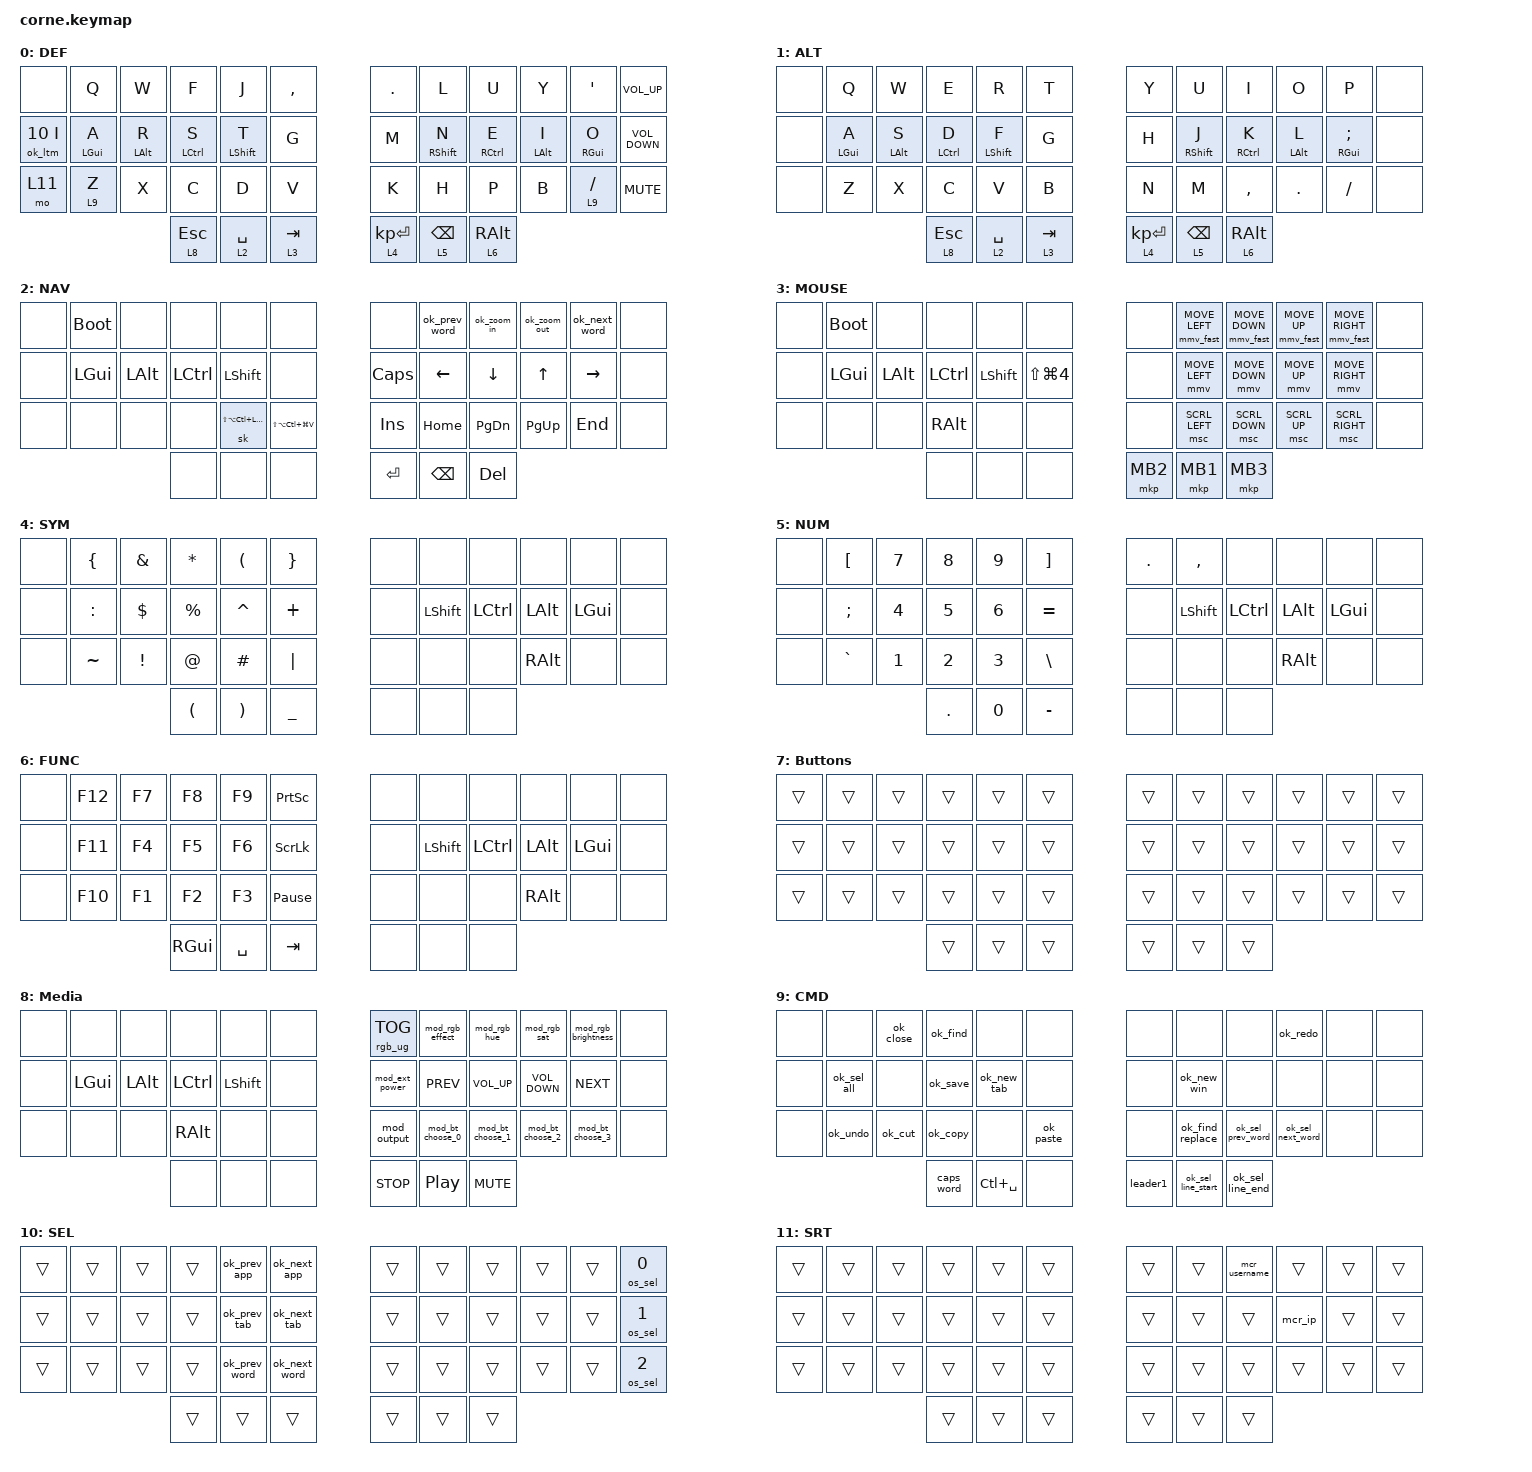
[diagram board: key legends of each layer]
/*
 * Copyright (c) 2020 The ZMK Contributors
 *
 * SPDX-License-Identifier: MIT
 */

#include <behaviors.dtsi>
#include <dt-bindings/zmk/bt.h>
#include <dt-bindings/zmk/ext_power.h>
#include <dt-bindings/zmk/keys.h>
#include <dt-bindings/zmk/outputs.h>
#include <dt-bindings/zmk/pointing.h>
#include <dt-bindings/zmk/rgb.h>

#define ZMK_POINTING_DEFAULT_SCRL_VAL 25
#define LOWER   1
#define RAISE   2

/ {
    behaviors {
        ///// Start OS KKey  ///////////////////
        /* ── OS selector ────────────────────────────────────────────── */

        os_sel: os_selector {
            compatible = "zmk,behavior-os-selector";
            #binding-cells = <1>;
        };

        /* ── Commands ─────────────────────────────────────────────── */

        ok_cut: os_key_cut {
            compatible = "zmk,behavior-os-key";
            #binding-cells = <0>;

            /*             Win           Mac           Lin  */

            bindings = <&kp LC(X)>, <&kp LG(X)>, <&kp LC(X)>;
        };

        ok_copy: os_key_copy {
            compatible = "zmk,behavior-os-key";
            #binding-cells = <0>;

            /*             Win           Mac           Lin  */

            bindings = <&kp LC(C)>, <&kp LG(C)>, <&kp LC(C)>;
        };

        ok_paste: os_key_paste {
            compatible = "zmk,behavior-os-key";
            #binding-cells = <0>;

            /*             Win           Mac           Lin  */

            bindings = <&kp LC(V)>, <&kp LG(V)>, <&kp LC(V)>;
        };

        ok_undo: os_key_undo {
            compatible = "zmk,behavior-os-key";
            #binding-cells = <0>;

            /*             Win           Mac           Lin  */

            bindings = <&kp LC(Z)>, <&kp LG(Z)>, <&kp LC(Z)>;
        };

        ok_redo: os_key_redo {
            compatible = "zmk,behavior-os-key";
            #binding-cells = <0>;

            /*             Win         Mac                Lin  */

            bindings = <&kp LC(Y)>, <&kp LS(LG(Z))>, <&kp LS(LC(Z))>;
        };

        ok_sel_all: os_key_select_all {
            compatible = "zmk,behavior-os-key";
            #binding-cells = <0>;

            /*             Win           Mac           Lin  */

            bindings = <&kp LC(A)>, <&kp LG(A)>, <&kp LC(A)>;
        };

        ok_find: os_key_find {
            compatible = "zmk,behavior-os-key";
            #binding-cells = <0>;

            /*             Win           Mac           Lin  */

            bindings = <&kp LC(F)>, <&kp LG(F)>, <&kp LC(F)>;
        };

        ok_find_replace: os_key_find_replace {
            compatible = "zmk,behavior-os-key";
            #binding-cells = <0>;

            /*             Win           Mac           Lin  */

            bindings = <&kp LC(H)>, <&kp LG(H)>, <&kp LC(H)>;
        };

        ok_bold: os_key_bold {
            compatible = "zmk,behavior-os-key";
            #binding-cells = <0>;

            /*             Win           Mac           Lin  */

            bindings = <&kp LC(B)>, <&kp LG(B)>, <&kp LC(B)>;
        };

        ok_italic: os_key_italic {
            compatible = "zmk,behavior-os-key";
            #binding-cells = <0>;

            /*             Win           Mac           Lin  */

            bindings = <&kp LC(I)>, <&kp LG(I)>, <&kp LC(I)>;
        };

        ok_underline: os_key_underline {
            compatible = "zmk,behavior-os-key";
            #binding-cells = <0>;

            /*             Win           Mac           Lin  */

            bindings = <&kp LC(U)>, <&kp LG(U)>, <&kp LC(U)>;
        };

        ok_new_win: os_key_new_window {
            compatible = "zmk,behavior-os-key";
            #binding-cells = <0>;

            /*             Win           Mac           Lin  */

            bindings = <&kp LC(N)>, <&kp LG(N)>, <&kp LC(N)>;
        };

        ok_new_tab: os_key_new_tab {
            compatible = "zmk,behavior-os-key";
            #binding-cells = <0>;

            /*             Win           Mac           Lin  */

            bindings = <&kp LC(T)>, <&kp LG(T)>, <&kp LC(T)>;
        };

        ok_close: os_key_close {
            compatible = "zmk,behavior-os-key";
            #binding-cells = <0>;

            /*             Win           Mac           Lin  */

            bindings = <&kp LC(W)>, <&kp LG(W)>, <&kp LC(W)>;
        };

        ok_quit: os_key_quit {
            compatible = "zmk,behavior-os-key";
            #binding-cells = <0>;

            /*             Win            Mac           Lin  */

            bindings = <&kp LA(F4)>, <&kp LG(Q)>, <&kp LA(F4)>;
        };

        ok_reopen_tab: os_key_reopen_tab {
            compatible = "zmk,behavior-os-key";
            #binding-cells = <0>;

            /*                  Win                Mac               Lin  */

            bindings = <&kp LS(LC(T))>, <&kp LS(LG(T))>, <&kp LS(LC(T))>;
        };

        ok_open: os_key_open {
            compatible = "zmk,behavior-os-key";
            #binding-cells = <0>;

            /*             Win           Mac           Lin  */

            bindings = <&kp LC(O)>, <&kp LG(O)>, <&kp LC(O)>;
        };

        ok_save: os_key_save {
            compatible = "zmk,behavior-os-key";
            #binding-cells = <0>;

            /*             Win           Mac           Lin  */

            bindings = <&kp LC(S)>, <&kp LG(S)>, <&kp LC(S)>;
        };

        ok_save_as: os_key_save_as {
            compatible = "zmk,behavior-os-key";
            #binding-cells = <0>;

            /*                  Win                Mac               Lin  */

            bindings = <&kp LS(LC(S))>, <&kp LS(LG(S))>, <&kp LS(LC(S))>;
        };

        ok_print: os_key_print {
            compatible = "zmk,behavior-os-key";
            #binding-cells = <0>;

            /*             Win           Mac           Lin  */

            bindings = <&kp LC(P)>, <&kp LG(P)>, <&kp LC(P)>;
        };

        ok_zoom_in: os_key_zoom_in {
            compatible = "zmk,behavior-os-key";
            #binding-cells = <0>;

            /*                Win              Mac              Lin  */

            bindings = <&kp LC(EQUAL)>, <&kp LG(EQUAL)>, <&kp LC(EQUAL)>;
        };

        ok_zoom_out: os_key_zoom_out {
            compatible = "zmk,behavior-os-key";
            #binding-cells = <0>;

            /*                Win              Mac              Lin  */

            bindings = <&kp LC(MINUS)>, <&kp LG(MINUS)>, <&kp LC(MINUS)>;
        };

        ok_zoom_reset: os_key_zoom_reset {
            compatible = "zmk,behavior-os-key";
            #binding-cells = <0>;

            /*             Win            Mac            Lin  */

            bindings = <&kp LC(N0)>, <&kp LG(N0)>, <&kp LC(N0)>;
        };

        /* ── Navigation ─────────────────────────────────────────────── */

        ok_prev_word: os_key_prev_word {
            compatible = "zmk,behavior-os-key";
            #binding-cells = <0>;

            /*                  Win            Mac            Lin  */

            bindings = <&kp LC(LEFT)>, <&kp LA(LEFT)>, <&kp LC(LEFT)>;
        };

        ok_next_word: os_key_next_word {
            compatible = "zmk,behavior-os-key";
            #binding-cells = <0>;

            /*                  Win             Mac             Lin  */

            bindings = <&kp LC(RIGHT)>, <&kp LA(RIGHT)>, <&kp LC(RIGHT)>;
        };

        ok_line_start: os_key_line_start {
            compatible = "zmk,behavior-os-key";
            #binding-cells = <0>;

            /*              Win          Mac             Lin  */

            bindings = <&kp HOME>, <&kp LG(LEFT)>, <&kp HOME>;
        };

        ok_line_end: os_key_line_end {
            compatible = "zmk,behavior-os-key";
            #binding-cells = <0>;

            /*             Win           Mac              Lin  */

            bindings = <&kp END>, <&kp LG(RIGHT)>, <&kp END>;
        };

        ok_doc_start: os_key_doc_start {
            compatible = "zmk,behavior-os-key";
            #binding-cells = <0>;

            /*                Win           Mac          Lin  */

            bindings = <&kp LC(HOME)>, <&kp LG(UP)>, <&kp LC(HOME)>;
        };

        ok_doc_end: os_key_doc_end {
            compatible = "zmk,behavior-os-key";
            #binding-cells = <0>;

            /*               Win             Mac            Lin  */

            bindings = <&kp LC(END)>, <&kp LG(DOWN)>, <&kp LC(END)>;
        };

        /* ── Selection (Shift + Navigation) ─────────────────────────── */

        ok_sel_prev_word: os_key_sel_prev_word {
            compatible = "zmk,behavior-os-key";
            #binding-cells = <0>;

            /*                       Win                   Mac                   Lin  */

            bindings =
                <&kp LS(LC(LEFT))>,
                <&kp LS(LA(LEFT))>,
                <&kp LS(LC(LEFT))>;
        };

        ok_sel_next_word: os_key_sel_next_word {
            compatible = "zmk,behavior-os-key";
            #binding-cells = <0>;

            /*                        Win                    Mac                    Lin  */

            bindings =
                <&kp LS(LC(RIGHT))>,
                <&kp LS(LA(RIGHT))>,
                <&kp LS(LC(RIGHT))>;
        };

        ok_sel_line_start: os_key_sel_line_start {
            compatible = "zmk,behavior-os-key";
            #binding-cells = <0>;

            /*                   Win              Mac                Lin  */

            bindings = <&kp LS(HOME)>, <&kp LS(LG(LEFT))>, <&kp LS(HOME)>;
        };

        ok_sel_line_end: os_key_sel_line_end {
            compatible = "zmk,behavior-os-key";
            #binding-cells = <0>;

            /*                  Win             Mac                 Lin  */

            bindings = <&kp LS(END)>, <&kp LS(LG(RIGHT))>, <&kp LS(END)>;
        };

        ok_sel_doc_start: os_key_sel_doc_start {
            compatible = "zmk,behavior-os-key";
            #binding-cells = <0>;

            /*                     Win                Mac               Lin  */

            bindings = <&kp LS(LC(HOME))>, <&kp LS(LG(UP))>, <&kp LS(LC(HOME))>;
        };

        ok_sel_doc_end: os_key_sel_doc_end {
            compatible = "zmk,behavior-os-key";
            #binding-cells = <0>;

            /*                    Win                 Mac                Lin  */

            bindings = <&kp LS(LC(END))>, <&kp LS(LG(DOWN))>, <&kp LS(LC(END))>;
        };

        /* ── Window management ───────────────────────────────────────── */
        /* Linux shortcuts are DE-specific; override in your keymap.     */

        ok_ltm: os_layer_mod {
            compatible = "zmk,behavior-os-layer-mod";
            #binding-cells = <2>;

            /*
             * Hold: activates <layer> and holds the OS app-switch modifier,
             *   keeping the switcher menu open while held.
             * Tap: sends <keycode> normally.
             * Release: dismisses the switcher menu and deactivates the layer.
             *
             * Usage:  &ok_ltm APP_SWITCH_LAYER G
             *
             * Override mods in your keymap to use different modifiers.
             */

            tapping-term-ms = <200>;

            /*              Win           Mac           Lin  */

            bindings = <&kp LALT>, <&kp LGUI>, <&kp LGUI>;
        };

        ok_next_app: os_key_next_app {
            compatible = "zmk,behavior-os-key";
            #binding-cells = <0>;

            /*            Win           Mac           Lin  */

            bindings = <&kp LA(TAB)>, <&kp LG(TAB)>, <&kp LG(TAB)>;
        };

        ok_prev_app: os_key_prev_app {
            compatible = "zmk,behavior-os-key";
            #binding-cells = <0>;

            /*            Win           Mac           Lin  */

            bindings = <&kp LS(LA(TAB))>, <&kp LS(LG(TAB))>, <&kp LS(LG(TAB))>;
        };

        ok_next_tab: os_key_next_tab {
            compatible = "zmk,behavior-os-key";
            #binding-cells = <0>;

            /*            Win           Mac              Lin  */

            bindings = <&kp LC(RBRC)>, <&kp LG(RBRC)>, <&kp LC(PG_DN)>;
        };

        ok_prev_tab: os_key_prev_tab {
            compatible = "zmk,behavior-os-key";
            #binding-cells = <0>;

            /*            Win           Mac              Lin  */

            bindings = <&kp LC(LBRC)>, <&kp LG(LBRC)>, <&kp LC(PG_UP)>;
        };

        ok_mission_ctrl: os_key_mission_control {
            compatible = "zmk,behavior-os-key";
            #binding-cells = <0>;

            /*                 Win            Mac          Lin (DE-specific) */

            bindings = <&kp LG(TAB)>, <&kp LC(UP)>, <&kp LGUI>;
        };

        ok_desktop: os_key_desktop {
            compatible = "zmk,behavior-os-key";
            #binding-cells = <0>;

            /*              Win           Mac             Lin (DE-specific) */

            bindings = <&kp LG(D)>, <&kp LG(LC(D))>, <&kp LG(D)>;
        };

        ok_lock: os_key_lock {
            compatible = "zmk,behavior-os-key";
            #binding-cells = <0>;

            /*               Win           Mac              Lin (Ubuntu/GNOME default) */

            bindings = <&kp LG(L)>, <&kp LG(LC(Q))>, <&kp LG(L)>;
        };

        ok_force_quit: os_key_force_quit {
            compatible = "zmk,behavior-os-key";
            #binding-cells = <0>;

            /*                  Win (Task Mgr)    Mac (Force Quit)    Lin (KDE: Sys Activity) */

            bindings = <&kp LS(LC(ESC))>, <&kp LA(LG(ESC))>, <&kp LC(ESC)>;
        };

        ///// Finish OS KKey  ///////////////////

        leader1: leader1 {
            compatible = "zmk,behavior-leader-key";
            #binding-cells = <0>;

            usb {
                sequence = <U S B>;
                bindings = <&out OUT_USB>;
            };

            ble {
                sequence = <B L E>;
                bindings = <&out OUT_BLE>;
            };

            bt0 {
                sequence = <B N0>;
                bindings = <&bt BT_SEL 0>;
            };

            bt1 {
                sequence = <B N1>;
                bindings = <&bt BT_SEL 1>;
            };

            bt2 {
                sequence = <B N2>;
                bindings = <&bt BT_SEL 2>;
            };

            btc {
                sequence = <C L E A R>;
                bindings = <&bt BT_CLR>;
            };

            boot {
                sequence = <B O O T>;
                bindings = <&bootloader>;
            };

            reset {
                sequence = <R E S E T>;
                bindings = <&sys_reset>;
            };
        };

        layer_tap_repeat: layer_tap_repeat {
            compatible = "zmk,behavior-hold-tap";
            label = "LAYER_TAP_REPEAT";
            bindings = <&mo>, <&kp>;

            #binding-cells = <2>;
            tapping-term-ms = <200>;
            quick-tap-ms = <200>;
            flavor = "tap-preferred";
        };

        mmv_fast: mmv_fast {
            compatible = "zmk,behavior-input-two-axis";
            #binding-cells = <1>;
            x-input-code = <INPUT_REL_X>;
            y-input-code = <INPUT_REL_Y>;
            time-to-max-speed-ms = <50>;   // Almost instant acceleration (default is 300)
            acceleration-exponent = <1>;
        };

        my_fast_lt: my_fast_lt {
            compatible = "zmk,behavior-hold-tap";
            #binding-cells = <2>;
            flavor = "balanced";    // Defines how overlaps are handled
            tapping-term-ms = <200>;     // Time to trigger the hold behavior
            //quick-tap-ms = <150>;        // Allows repeated taps without triggering the layer

            require-prior-idle-ms = <200>; // Prevents accidental layer activation during fast typing
            bindings = <&mo>, <&kp>;

            // Hold = Layer, Tap = Key

            quick-tap-ms = <50>;
        };

        hrl: hrl {
            compatible = "zmk,behavior-hold-tap";
            label = "HRL";
            bindings = <&kp>, <&kp>;

            #binding-cells = <2>;
            flavor = "tap-preferred";
            tapping-term-ms = <200>;
            quick-tap-ms = <175>;
            require-prior-idle-ms = <1>;
            hold-trigger-key-positions = <7 6 18 30 31 19 8 20 32 33 9 21 34 22 10 11 23 35>;
        };

        hrm: hrm {
            compatible = "zmk,behavior-hold-tap";
            label = "HRM";
            bindings = <&kp>, <&kp>;

            #binding-cells = <2>;
            flavor = "tap-preferred";
            tapping-term-ms = <200>;
            quick-tap-ms = <175>;
            require-prior-idle-ms = <1>;
            hold-trigger-key-positions = <0 12 24 25 13 1 2 14 26 27 15 3 4 28 16 29 17 5>;
        };

        mod_rgb_effect: mod_rgb_effect {
            compatible = "zmk,behavior-mod-morph";
            label = "MOD_RGB_EFFECT";
            bindings = <&rgb_ug RGB_EFF>, <&rgb_ug RGB_EFR>;

            #binding-cells = <0>;
            mods = <(MOD_LSFT)>;
            keep-mods = <(MOD_LSFT)>;
        };

        mod_rgb_hue: mod_rgb_hue {
            compatible = "zmk,behavior-mod-morph";
            label = "MOD_RGB_HUE";
            bindings = <&rgb_ug RGB_HUI>, <&rgb_ug RGB_HUD>;

            #binding-cells = <0>;
            mods = <(MOD_LSFT)>;
            keep-mods = <(MOD_LSFT)>;
        };

        mod_rgb_sat: mod_rgb_sat {
            compatible = "zmk,behavior-mod-morph";
            label = "MOD_RGB_SAT";
            bindings = <&rgb_ug RGB_SAI>, <&rgb_ug RGB_SAD>;

            #binding-cells = <0>;
            mods = <(MOD_LSFT)>;
            keep-mods = <(MOD_LSFT)>;
        };

        mod_rgb_brightness: mod_rgb_brightness {
            compatible = "zmk,behavior-mod-morph";
            label = "MOD_RGB_BRIGHTNESS";
            bindings = <&rgb_ug RGB_BRI>, <&rgb_ug RGB_BRD>;

            #binding-cells = <0>;
            mods = <(MOD_LSFT)>;
            keep-mods = <(MOD_LSFT)>;
        };

        mod_ext_power: mod_ext_power {
            compatible = "zmk,behavior-mod-morph";
            label = "MOD_EXT_POWER";
            bindings = <&ext_power EP_TOG>, <&ext_power EP_OFF>;

            #binding-cells = <0>;
            mods = <(MOD_LSFT)>;
            keep-mods = <(MOD_LSFT)>;
        };

        mod_output: mod_output {
            compatible = "zmk,behavior-mod-morph";
            label = "MOD_OUTPUT";
            bindings = <&out OUT_TOG>, <&out OUT_USB>;

            #binding-cells = <0>;
            mods = <(MOD_LSFT)>;
            keep-mods = <(MOD_LSFT)>;
        };

        mod_bt_choose_0: mod_bt_choose_0 {
            compatible = "zmk,behavior-mod-morph";
            label = "MOD_BT_CHOOSE_0";
            bindings = <&bt BT_SEL 0>, <&bt BT_CLR>;

            #binding-cells = <0>;
            mods = <(MOD_LSFT)>;
            keep-mods = <(MOD_LSFT)>;
        };

        mod_bt_choose_1: mod_bt_choose_1 {
            compatible = "zmk,behavior-mod-morph";
            label = "MOD_BT_CHOOSE_1";
            bindings = <&bt BT_SEL 1>, <&bt BT_CLR>;

            #binding-cells = <0>;
            mods = <(MOD_LSFT)>;
            keep-mods = <(MOD_LSFT)>;
        };

        mod_bt_choose_2: mod_bt_choose_2 {
            compatible = "zmk,behavior-mod-morph";
            label = "MOD_BT_CHOOSE_2";
            bindings = <&bt BT_SEL 2>, <&bt BT_CLR>;

            #binding-cells = <0>;
            mods = <(MOD_LSFT)>;
            keep-mods = <(MOD_LSFT)>;
        };

        mod_bt_choose_3: mod_bt_choose_3 {
            compatible = "zmk,behavior-mod-morph";
            label = "MOD_BT_CHOOSE_3";
            bindings = <&bt BT_SEL 3>, <&bt BT_CLR>;

            #binding-cells = <0>;
            mods = <(MOD_LSFT)>;
            keep-mods = <(MOD_LSFT)>;
        };

        tly_mouse: tly_mouse {
            compatible = "zmk,behavior-toggle-layer";
            label = "TLY_MOUSE";
            #binding-cells = <1>;
        };
    };

    combos {
        compatible = "zmk,combos";

        Genpd1 {
            bindings = <&wp1>;
            key-positions = <10 22 34>;
            layers = <2>;
        };

        Genpd2 {
            bindings = <&wp2>;
            key-positions = <9 21 33>;
            layers = <2>;
        };

        cmbRaycast {
            bindings = <&kp LA(ENTER)>;
            key-positions = <39 38>;
            layers = <0 1>;
        };

        To_Mouse {
            bindings = <&to 3>;
            key-positions = <2 14 26>;
        };

        To_Nav {
            bindings = <&to 2>;
            key-positions = <1 13 25>;
        };

        ToDef {
            bindings = <&to 0>;
            key-positions = <3 15 27>;
        };

        cmbRepeatL {
            bindings = <&key_repeat>;
            key-positions = <27 28>;
            timeout-ms = <50>;
        };

        cmbRepeatR {
            bindings = <&key_repeat>;
            key-positions = <32 31>;
            timeout-ms = <50>;
        };

        cmbRaycastChat {
            bindings = <&kp LA(SPACE)>;
            key-positions = <37 40>;
            layers = <0 1>;
        };
    };

    macros {
        wp1: wp1 {
            compatible = "zmk,behavior-macro";
            #binding-cells = <0>;
            bindings = <&kp AT &kp LS(T) &kp I &kp N0 &kp N2 &kp C &kp A &kp N0 &kp N9 &kp ENTER>;
            label = "WP1";
        };

        wp2: wp3 {
            compatible = "zmk,behavior-macro";
            #binding-cells = <0>;
            bindings = <&kp AT &kp LS(A) &kp N &kp H &kp K &kp H &kp O &kp I &kp N1 &kp N4 &kp B &kp E &kp N &kp G &kp O &kp C &kp ENTER>;
            label = "WP3";
        };

        mcr_ip: mcr_ip {
            compatible = "zmk,behavior-macro";
            #binding-cells = <0>;
            bindings = <&kp N1 &kp N9 &kp N2 &kp DOT &kp N1 &kp N6 &kp N8 &kp DOT &kp N1 &kp N0 &kp N0 &kp DOT>;
            label = "MCR_IP";
        };

        mcr_username: mcr_username {
            compatible = "zmk,behavior-macro";
            #binding-cells = <0>;
            bindings = <&kp L &kp Q &kp K &kp H &kp O &kp I>;
            label = "MCR_USERNAME";
        };
    };

    keymap {
        compatible = "zmk,keymap";

        Default_layer {
            bindings = <
&none         &kp Q            &kp W            &kp F                &kp J              &kp COMMA    &kp PERIOD      &kp L               &kp U                 &kp Y            &kp SQT              &kp C_VOLUME_UP
&ok_ltm 10 I  &hrl LEFT_GUI A  &hrl LEFT_ALT R  &hrl LEFT_CONTROL S  &hrl LEFT_SHIFT T  &kp G        &kp M           &hrm RIGHT_SHIFT N  &hrm RIGHT_CONTROL E  &hrm LEFT_ALT I  &hrm RIGHT_GUI O     &kp C_VOLUME_DOWN
&mo 11        &my_fast_lt 9 Z  &kp X            &kp C                &kp D              &kp V        &kp K           &kp H               &kp P                 &kp B            &my_fast_lt 9 SLASH  &kp K_MUTE
                                                &lt 8 ESCAPE         &lt 2 SPACE        &lt 3 TAB    &lt 4 KP_ENTER  &lt 5 BACKSPACE     &lt 6 RIGHT_ALT
            >;

            label = "DEF";
        };

        Alternative {
            bindings = <
&none  &kp Q            &kp W            &kp E                &kp R              &kp T        &kp Y           &kp U               &kp I                 &kp O            &kp P                     &none
&none  &hrl LEFT_GUI A  &hrl LEFT_ALT S  &hrl LEFT_CONTROL D  &hrl LEFT_SHIFT F  &kp G        &kp H           &hrm RIGHT_SHIFT J  &hrm RIGHT_CONTROL K  &hrm LEFT_ALT L  &hrm RIGHT_GUI SEMICOLON  &none
&none  &kp Z            &kp X            &kp C                &kp V              &kp B        &kp N           &kp M               &kp COMMA             &kp DOT          &kp FSLH                  &none
                                         &lt 8 ESCAPE         &lt 2 SPACE        &lt 3 TAB    &lt 4 KP_ENTER  &lt 5 BACKSPACE     &lt 6 RIGHT_ALT
            >;

            label = "ALT";
        };

        Nav {
            bindings = <
&none  &bootloader   &none         &none             &none                     &none                    &none       &ok_prev_word  &ok_zoom_in     &ok_zoom_out  &ok_next_word    &none
&none  &kp LEFT_GUI  &kp LEFT_ALT  &kp LEFT_CONTROL  &kp LEFT_SHIFT            &none                    &kp CAPS    &kp LEFT       &kp DOWN_ARROW  &kp UP_ARROW  &kp RIGHT_ARROW  &none
&none  &none         &none         &none             &sk LS(LA(LC(LEFT_GUI)))  &kp LS(LA(LC(LG(V))))    &kp INSERT  &kp HOME       &kp PAGE_DOWN   &kp PAGE_UP   &kp END          &none
                                   &none             &none                     &none                    &kp ENTER   &kp BACKSPACE  &kp DELETE
            >;

            label = "NAV";
        };

        Mouse {
            bindings = <
&none  &bootloader   &none         &none             &none           &none                   &none     &mmv_fast MOVE_LEFT  &mmv_fast MOVE_DOWN  &mmv_fast MOVE_UP  &mmv_fast MOVE_RIGHT  &none
&none  &kp LEFT_GUI  &kp LEFT_ALT  &kp LEFT_CONTROL  &kp LEFT_SHIFT  &kp LS(LG(NUMBER_4))    &none     &mmv MOVE_LEFT       &mmv MOVE_DOWN       &mmv MOVE_UP       &mmv MOVE_RIGHT       &none
&none  &none         &none         &kp RIGHT_ALT     &none           &none                   &none     &msc SCRL_LEFT       &msc SCRL_DOWN       &msc SCRL_UP       &msc SCRL_RIGHT       &none
                                   &none             &none           &none                   &mkp MB2  &mkp MB1             &mkp MB3
            >;

            label = "MOUSE";
        };

        Symbol {
            bindings = <
&none  &kp LEFT_BRACE  &kp AMPERSAND    &kp ASTERISK          &kp LEFT_PARENTHESIS   &kp RIGHT_BRACE    &none  &none      &none      &none     &none     &none
&none  &kp COLON       &kp DOLLAR       &kp PERCENT           &kp CARET              &kp PLUS           &none  &kp LSHFT  &kp LCTRL  &kp LALT  &kp LGUI  &none
&none  &kp TILDE       &kp EXCLAMATION  &kp AT_SIGN           &kp HASH               &kp PIPE           &none  &none      &none      &kp RALT  &none     &none
                                        &kp LEFT_PARENTHESIS  &kp RIGHT_PARENTHESIS  &kp UNDERSCORE     &none  &none      &none
            >;

            label = "SYM";
        };

        Num {
            bindings = <
&none  &kp LBKT   &kp N7  &kp N8   &kp N9  &kp RBKT     &kp PERIOD  &kp COMMA  &none      &none     &none     &none
&none  &kp SEMI   &kp N4  &kp N5   &kp N6  &kp EQUAL    &none       &kp LSHFT  &kp LCTRL  &kp LALT  &kp LGUI  &none
&none  &kp GRAVE  &kp N1  &kp N2   &kp N3  &kp BSLH     &none       &none      &none      &kp RALT  &none     &none
                          &kp DOT  &kp N0  &kp MINUS    &none       &none      &none
            >;

            label = "NUM";
        };

        Func {
            bindings = <
&none  &kp F12  &kp F7  &kp F8    &kp F9     &kp PRINTSCREEN    &none  &none      &none      &none     &none     &none
&none  &kp F11  &kp F4  &kp F5    &kp F6     &kp SCROLLLOCK     &none  &kp LSHFT  &kp LCTRL  &kp LALT  &kp LGUI  &none
&none  &kp F10  &kp F1  &kp F2    &kp F3     &kp PAUSE_BREAK    &none  &none      &none      &kp RALT  &none     &none
                        &kp RGUI  &kp SPACE  &kp TAB            &none  &none      &none
            >;

            label = "FUNC";
        };

        Buttons {
            bindings = <
&trans  &trans  &trans  &trans  &trans  &trans    &trans  &trans  &trans  &trans  &trans  &trans
&trans  &trans  &trans  &trans  &trans  &trans    &trans  &trans  &trans  &trans  &trans  &trans
&trans  &trans  &trans  &trans  &trans  &trans    &trans  &trans  &trans  &trans  &trans  &trans
                        &trans  &trans  &trans    &trans  &trans  &trans
            >;
        };

        Media {
            bindings = <
&none  &none     &none     &none          &none      &none    &rgb_ug RGB_TOG  &mod_rgb_effect   &mod_rgb_hue      &mod_rgb_sat       &mod_rgb_brightness  &none
&none  &kp LGUI  &kp LALT  &kp LCTRL      &kp LSHFT  &none    &mod_ext_power   &kp C_PREV        &kp C_VOLUME_UP   &kp C_VOLUME_DOWN  &kp C_NEXT           &none
&none  &none     &none     &kp RIGHT_ALT  &none      &none    &mod_output      &mod_bt_choose_0  &mod_bt_choose_1  &mod_bt_choose_2   &mod_bt_choose_3     &none
                           &none          &none      &none    &kp C_STOP       &kp C_PLAY_PAUSE  &kp K_MUTE
            >;

            label = "Media";
        };

        CMD {
            bindings = <
&none  &none        &ok_close  &ok_find    &none          &none        &none     &none               &none              &ok_redo           &none  &none
&none  &ok_sel_all  &none      &ok_save    &ok_new_tab    &none        &none     &ok_new_win         &none              &none              &none  &none
&none  &ok_undo     &ok_cut    &ok_copy    &none          &ok_paste    &none     &ok_find_replace    &ok_sel_prev_word  &ok_sel_next_word  &none  &none
                               &caps_word  &kp LC(SPACE)  &none        &leader1  &ok_sel_line_start  &ok_sel_line_end
            >;

            label = "CMD";
        };

        SEL {
            bindings = <
&trans  &trans  &trans  &trans  &ok_prev_app   &ok_next_app     &trans  &trans  &trans  &trans  &trans  &os_sel 0
&trans  &trans  &trans  &trans  &ok_prev_tab   &ok_next_tab     &trans  &trans  &trans  &trans  &trans  &os_sel 1
&trans  &trans  &trans  &trans  &ok_prev_word  &ok_next_word    &trans  &trans  &trans  &trans  &trans  &os_sel 2
                        &trans  &trans         &trans           &trans  &trans  &trans
            >;

            label = "SEL";
        };

        Short {
            bindings = <
&trans  &trans  &trans  &trans  &trans  &trans    &trans  &trans  &mcr_username  &trans   &trans  &trans
&trans  &trans  &trans  &trans  &trans  &trans    &trans  &trans  &trans         &mcr_ip  &trans  &trans
&trans  &trans  &trans  &trans  &trans  &trans    &trans  &trans  &trans         &trans   &trans  &trans
                        &trans  &trans  &trans    &trans  &trans  &trans
            >;

            label = "SRT";
        };
    };

    conditional_layers { compatible = "zmk,conditional-layers"; };
};
